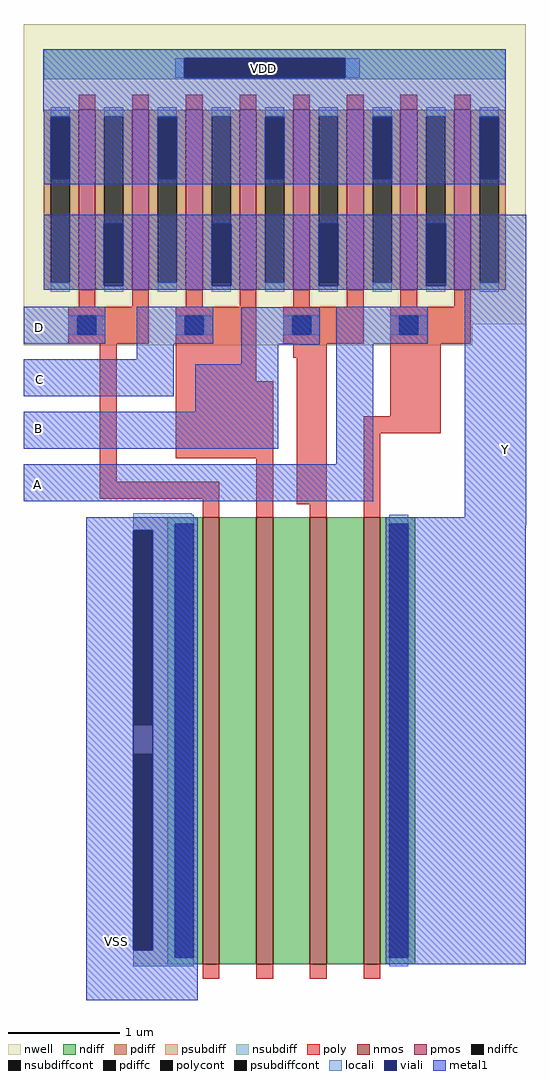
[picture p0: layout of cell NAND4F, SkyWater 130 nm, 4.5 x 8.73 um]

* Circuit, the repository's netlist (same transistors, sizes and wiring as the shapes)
* NGSPICE file created from NAND4F.ext - technology: sky130B

.subckt pmos4_f2 a_n177_n258# a_n413_n161# a_207_n258# w_n449_n261# a_n369_n258# a_n321_n161#
+ a_15_n258#
X0 a_n321_n161# a_207_n258# a_n413_n161# w_n449_n261# sky130_fd_pr__pfet_01v8 ad=0.26565 pd=1.94 as=0.26565 ps=1.94 w=1.61 l=0.15
X1 a_n321_n161# a_n369_n258# a_n413_n161# w_n449_n261# sky130_fd_pr__pfet_01v8 ad=0.26565 pd=1.94 as=0.4991 ps=3.84 w=1.61 l=0.15
X2 a_n413_n161# a_15_n258# a_n321_n161# w_n449_n261# sky130_fd_pr__pfet_01v8 ad=0.26565 pd=1.94 as=0.26565 ps=1.94 w=1.61 l=0.15
X3 a_n413_n161# a_n369_n258# a_n321_n161# w_n449_n261# sky130_fd_pr__pfet_01v8 ad=0.26565 pd=1.94 as=0.26565 ps=1.94 w=1.61 l=0.15
X4 a_n321_n161# a_15_n258# a_n413_n161# w_n449_n261# sky130_fd_pr__pfet_01v8 ad=0.26565 pd=1.94 as=0.26565 ps=1.94 w=1.61 l=0.15
X5 a_n321_n161# a_n177_n258# a_n413_n161# w_n449_n261# sky130_fd_pr__pfet_01v8 ad=0.26565 pd=1.94 as=0.26565 ps=1.94 w=1.61 l=0.15
X6 a_n413_n161# a_n177_n258# a_n321_n161# w_n449_n261# sky130_fd_pr__pfet_01v8 ad=0.26565 pd=1.94 as=0.26565 ps=1.94 w=1.61 l=0.15
X7 a_n413_n161# a_207_n258# a_n321_n161# w_n449_n261# sky130_fd_pr__pfet_01v8 ad=0.4991 pd=3.84 as=0.26565 ps=1.94 w=1.61 l=0.15
.ends

.subckt efenmos2 a_n159_n426# a_33_n426# a_n221_n400# a_n63_n426# a_129_n426# a_159_n400#
+ VSUBS
X0 a_63_n400# a_33_n426# a_n33_n400# VSUBS sky130_fd_pr__nfet_01v8 ad=0.66 pd=4.33 as=0.66 ps=4.33 w=4 l=0.15
X1 a_n129_n400# a_n159_n426# a_n221_n400# VSUBS sky130_fd_pr__nfet_01v8 ad=0.66 pd=4.33 as=1.24 ps=8.62 w=4 l=0.15
X2 a_n33_n400# a_n63_n426# a_n129_n400# VSUBS sky130_fd_pr__nfet_01v8 ad=0.66 pd=4.33 as=0.66 ps=4.33 w=4 l=0.15
X3 a_159_n400# a_129_n426# a_63_n400# VSUBS sky130_fd_pr__nfet_01v8 ad=1.24 pd=8.62 as=0.66 ps=4.33 w=4 l=0.15
.ends

.subckt NAND4F A B C D VSS VDD Y
Xpmos4_f2_0 C VDD A VDD D Y B pmos4_f2
Xefenmos2_1 D B VSS C A Y VSS efenmos2
.ends

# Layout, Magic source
magic
tech sky130B
magscale 1 2
<< nwell >>
rect 10 444 908 571
rect 45 414 872 444
<< psubdiff >>
rect 206 -335 268 -311
rect 240 -683 268 -335
rect 206 -735 268 -683
rect 240 -1086 268 -735
rect 206 -1111 268 -1086
<< nsubdiff >>
rect 46 510 872 526
rect 46 475 297 510
rect 585 489 872 510
rect 585 475 871 489
rect 46 472 871 475
<< psubdiffcont >>
rect 206 -683 240 -335
rect 206 -1086 240 -735
<< nsubdiffcont >>
rect 297 475 585 510
<< poly >>
rect 146 -248 176 42
rect 340 2 370 42
rect 282 -1 402 2
rect 522 -1 552 32
rect 726 -1 756 40
rect 282 -68 426 -1
rect 492 -26 552 -1
rect 282 -206 456 -68
rect 146 -278 360 -248
rect 330 -287 360 -278
rect 426 -311 456 -206
rect 498 -288 552 -26
rect 666 -131 756 -1
rect 522 -311 552 -288
rect 618 -161 756 -131
rect 618 -311 648 -161
<< locali >>
rect 281 475 297 510
rect 585 475 611 510
rect 206 -335 311 -304
rect 241 -1086 311 -335
rect 206 -1115 311 -1086
<< viali >>
rect 297 475 585 510
rect 206 -683 240 -335
rect 240 -683 241 -335
rect 206 -735 241 -683
rect 206 -1086 240 -735
rect 240 -1086 241 -735
<< metal1 >>
rect 45 510 872 526
rect 45 475 297 510
rect 585 475 872 510
rect 45 414 872 475
rect 809 109 909 230
rect 10 -1 156 65
rect 212 -1 349 65
rect 212 -29 278 -1
rect 10 -95 278 -29
rect 399 -2 540 64
rect 569 -1 733 65
rect 399 -38 465 -2
rect 502 -3 536 -2
rect 317 -123 465 -38
rect 10 -189 465 -123
rect 569 -217 635 -1
rect 10 -283 635 -217
rect 799 -311 909 109
rect 122 -335 321 -311
rect 122 -1086 206 -335
rect 241 -1086 321 -335
rect 122 -1175 321 -1086
rect 658 -326 909 -311
rect 658 -1111 908 -326
use efenmos2  efenmos2_1
transform 1 0 489 0 1 -711
box -221 -426 221 426
use pmos4_f2  pmos4_f2_0
transform 1 0 459 0 1 257
box -449 -261 449 223
<< labels >>
flabel metal1 17 -277 51 -228 0 FreeSans 160 0 0 0 A
port 1 nsew
flabel metal1 20 -177 54 -128 0 FreeSans 160 0 0 0 B
port 2 nsew
flabel metal1 21 -89 55 -40 0 FreeSans 160 0 0 0 C
port 3 nsew
flabel metal1 22 4 56 53 0 FreeSans 160 0 0 0 D
port 4 nsew
flabel metal1 159 -1095 193 -1046 0 FreeSans 160 0 0 0 VSS
port 5 nsew
flabel nwell 422 466 456 515 0 FreeSans 160 0 0 0 VDD
port 6 nsew
flabel metal1 855 -214 889 -165 0 FreeSans 160 0 0 0 Y
port 8 nsew
<< end >>

# cell efenmos2: kit device sky130_fd_pr__nfet_01v8, w 4 l 0.150 m 1 nf 4 diffcov 100 polycov 100 guard 0 glc 1 grc 1 gtc 1 gbc 1 tbcov 100 rlcov 100 topc 0 botc 0 poverlap 0 doverlap 1 lmin 0.15 wmin 0.42 compatible {sky130_fd_pr__nfet_01v8 sky130_fd_pr__nfet_01v8_lvt sky130_fd_bs_flash__special_sonosfet_star sky130_fd_pr__nfet_g5v0d10v5 sky130_fd_pr__nfet_05v0_nvt sky130_fd_pr__nfet_03v3_nvt} full_metal 0 viasrc 100 viadrn 100 viagate 100 viagb 0 viagr 0 viagl 0 viagt 0

# cell pmos4_f2: kit device sky130_fd_pr__pfet_01v8, w 1.605 l 0.15 m 1 nf 8 diffcov 100 polycov 100 guard 0 glc 1 grc 1 gtc 1 gbc 1 tbcov 100 rlcov 100 topc 1 botc 1 poverlap 0 doverlap 1 lmin 0.15 wmin 0.42 compatible {sky130_fd_pr__pfet_01v8 sky130_fd_pr__pfet_01v8_lvt sky130_fd_pr__pfet_01v8_hvt sky130_fd_pr__pfet_g5v0d10v5} full_metal 1 viasrc 100 viadrn 100 viagate 100 viagb 0 viagr 0 viagl 0 viagt 0
